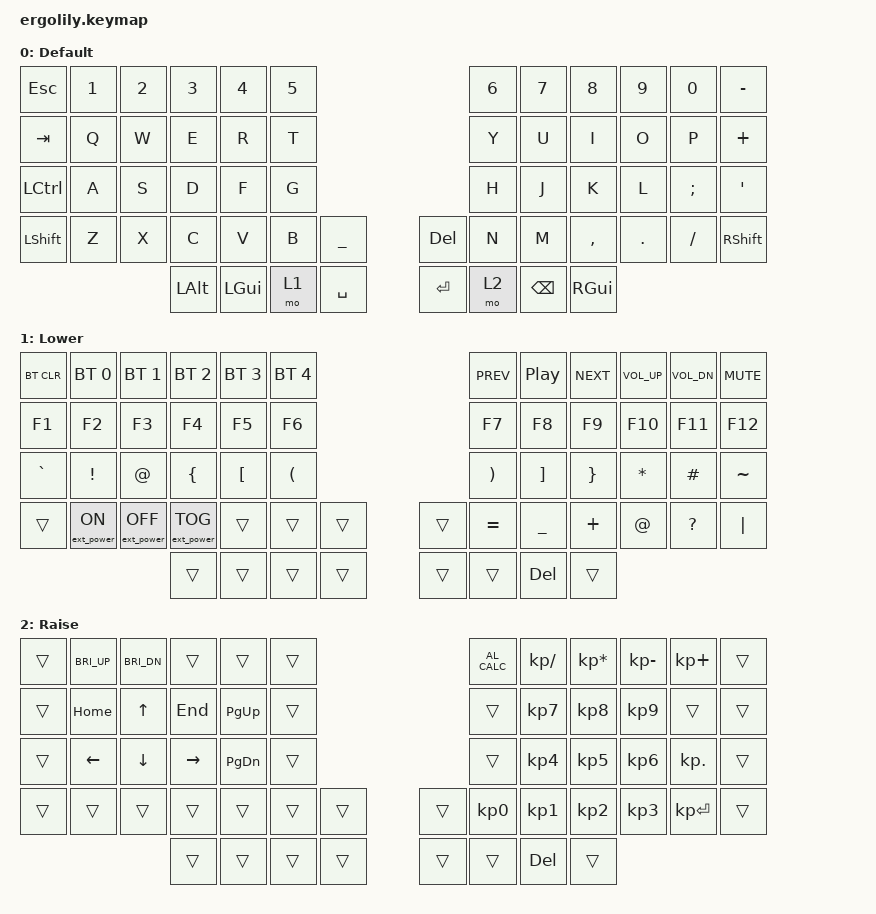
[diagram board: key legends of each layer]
/*
 * Copyright (c) 2020 The ZMK Contributors
 *
 * SPDX-License-Identifier: MIT
 */

#include <behaviors.dtsi>
#include <dt-bindings/zmk/keys.h>
#include <dt-bindings/zmk/bt.h>
#include <dt-bindings/zmk/ext_power.h>

/ {
    keymap {
        compatible = "zmk,keymap";

        default_layer {
            display-name = "Default";
// ────────────────────────────────────────────────────────────────────────────────────
// |  ESC  |  1  |  2  |  3   |  4   |  5   |                       |  6   |  7   |  8   |  9   |  0   |   -   |
// |  TAB  |  Q  |  W  |  E   |  R   |  T   |                       |  Y   |  U   |  I   |  O   |  P   |   +   |
// | CTRL  |  A  |  S  |  D   |  F   |  G   |                       |  H   |  J   |  K   |  L   |  ;   |   '   |
// | SHIFT |  Z  |  X  |  C   |  V   |  B   | UNDER|         |  DEL |  N   |  M   |  ,   |  .   |  /   | SHIFT |
//                     | ALT  | GUI  |LOWER |SPACE |         | ENTER|RAISE | BSPC | GUI  |
            bindings = <
&kp ESC   &kp N1 &kp N2 &kp N3   &kp N4   &kp N5                                 &kp N6   &kp N7    &kp N8    &kp N9  &kp N0    &kp MINUS
&kp TAB   &kp Q  &kp W  &kp E    &kp R    &kp T                                  &kp Y    &kp U     &kp I     &kp O   &kp P     &kp PLUS
&kp LCTRL &kp A  &kp S  &kp D    &kp F    &kp G                                  &kp H    &kp J     &kp K     &kp L   &kp SEMI  &kp SQT
&kp LSHFT &kp Z  &kp X  &kp C    &kp V    &kp B    &kp UNDER         &kp DEL    &kp N    &kp M     &kp COMMA &kp DOT &kp FSLH  &kp RSHFT
                        &kp LALT &kp LGUI &mo 1    &kp SPACE          &kp RET    &mo 2    &kp BSPC  &kp RGUI
            >;
        };

        lower_layer {
            display-name = "Lower";
// ────────────────────────────────────────────────────────────────────────────────────
// | BTCLR | BT1 | BT2 |  BT3 |  BT4 |  BT5 |                       | BACK |PAUS/PL| NEXT| VOLUP|VOLDWN|  MUTE |
// |  F1   |  F2 |  F3 |  F4  |  F5  |  F6  |                       |  F7  |  F8  |  F9  | F10  | F11  |  F12  |
// |   `   |  !  |  @  |  {   |  [   |  (   |                       |  )   |  ]   |  }   |  *   |  #   |   ~   |
// |       |EP_ON|EP_OFF|EP_TOG|     |      |      |         |      |  =   |  _   |  +   |  @   |   ?  |   |   |
//                     |      |      |      |      |         |      |      |  DEL |      |
            bindings = <
&bt BT_CLR &bt BT_SEL 0     &bt BT_SEL 1      &bt BT_SEL 2      &bt BT_SEL 3 &bt BT_SEL 4                         &kp C_PREV &kp C_PP  &kp C_NEXT &kp C_VOL_UP &kp C_VOL_DN &kp C_MUTE
&kp F1     &kp F2           &kp F3            &kp F4            &kp F5       &kp F6                              &kp F7    &kp F8    &kp F9    &kp F10   &kp F11   &kp F12
&kp GRAVE  &kp EXCL         &kp AT            &kp LBRC          &kp LBKT     &kp LPAR                            &kp RPAR  &kp RBKT  &kp RBRC  &kp ASTRK &kp HASH  &kp TILDE
&trans     &ext_power EP_ON &ext_power EP_OFF &ext_power EP_TOG &trans       &trans       &trans       &trans    &kp EQUAL &kp UNDER &kp PLUS  &kp AT    &kp QMARK &kp PIPE
                                              &trans            &trans       &trans       &trans       &trans    &trans    &kp DEL   &trans
            >;
        };
        
        raise_layer {
            display-name = "Raise";
// ────────────────────────────────────────────────────────────────────────────────────
// |       |BTUP |BTDWN|      |      |      |                       | CALC |  /   |  *   |   -  |   +  |      |       
// |       | HOME|  UP | END  | PGUP |      |                       |      |  7   |  8   |   9  |      |      |       
// |       | LEFT| DOWN|RIGHT | PGDN |      |                       |      |  4   |  5   |   6  |  .   |      |       
// |       |     |     |      |      |      |      |         |      |   0  |  1   |  2   |   3  |ENTER |      |       
//                     |      |      |      |      |         |      |      | DEL  |      |
            bindings = <
&trans    &kp C_BRI_UP &kp C_BRI_DN &trans  &trans  &trans                                 &kp C_AL_CALC  &kp KP_DIVIDE &kp KP_MULTIPLY &kp KP_MINUS &kp KP_PLUS &trans
&trans    &kp HOME     &kp UP       &kp END &kp PG_UP &trans                               &trans      &kp KP_N7     &kp KP_N8       &kp KP_N9    &trans      &trans
&trans    &kp LEFT     &kp DOWN     &kp RIGHT &kp PG_DN &trans                             &trans      &kp KP_N4     &kp KP_N5       &kp KP_N6    &kp KP_DOT  &trans
&trans    &trans       &trans       &trans  &trans  &trans   &trans           &trans       &kp KP_N0   &kp KP_N1     &kp KP_N2       &kp KP_N3    &kp KP_ENTER &trans
                        &trans       &trans  &trans   &trans           &trans       &trans      &kp DEL     &trans
            >;
        };
    };
};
